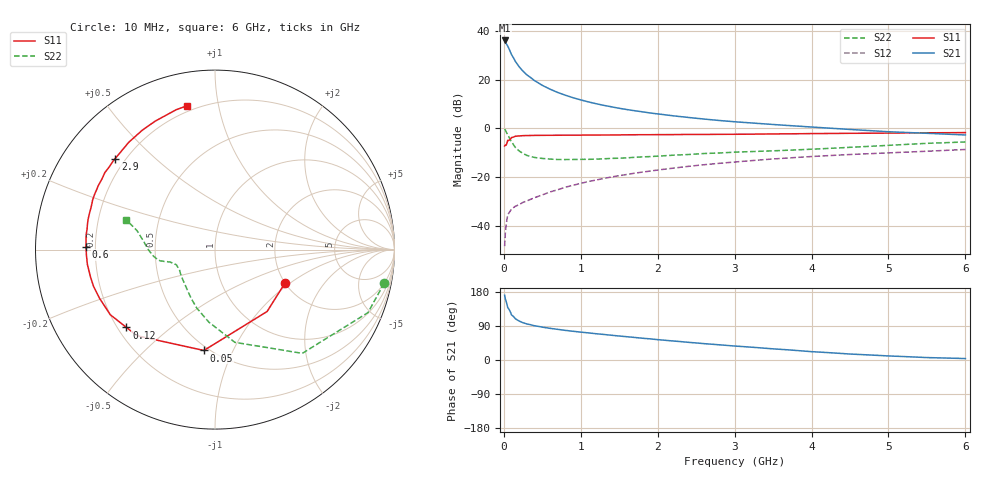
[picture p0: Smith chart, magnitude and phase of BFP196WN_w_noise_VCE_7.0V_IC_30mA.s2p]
! Infineon Technologies  Discrete & RF Semiconductors
! BFP196WN
! VCE =  7.0 V,  IC =  30 mA
! Common Emitter S-Parameters:  Jan 2017
# GHz  S  MA  R  50
!  f  S11  S21  S12  S22
! GHz  MAG  ANG  MAG  ANG  MAG  ANG  MAG  ANG
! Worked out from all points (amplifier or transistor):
!   77 points, 10 MHz to 6 GHz, reference 50 ohm
!   highest |S21| = 36.1 dB at 10 MHz (marker M1)
!   |S21| within 3 dB of that: start of sweep to 61.06 MHz
!   unconditionally stable (mu >= 1): 811.3 MHz to 2.649 GHz
!   at 130 MHz: K = 0.40, MSG = 30.6 dB, |S12| = -32.5 dB
!   at 2.2 GHz: K = 1.03, MAG = 9.8 dB, |S12| = -16.4 dB
!   at 6 GHz: K = 0.89, MSG = 3.0 dB, |S12| = -8.7 dB
!   lowest NFmin = 1.06 dB at 450 MHz
!   S11 on the Smith chart (normalised r, x): 10 MHz: 2.01, -0.91; 50 MHz: 0.47, -0.78; 120 MHz: 0.24, -0.36; 600 MHz: 0.16, +0.01; 2.9 GHz: 0.16, +0.38; 6 GHz: 0.17, +0.81
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0.01  0.4326 -25.1  63.65 170.9  0.0038 81.0  0.9613 -11.2
0.02  0.4508 -49.9  59.88 160.9  0.0073 79.4  0.9217 -22.4
0.05  0.5654 -96.3  49.09 138.9  0.0165 56.6  0.7556 -49.9
0.1  0.6472 -132.1  32.58 118.9  0.022 47.3  0.5286 -77.9
0.12  0.6569 -138.7  28.91 115.6  0.0232 45.7  0.4746 -83.6
0.15  0.6871 -148.1  23.66 108.8  0.0251 43.5  0.4054 -94.9
0.2  0.6981 -157.1  18.27 102.6  0.0271 44.4  0.3417 -107.2
0.25  0.7069 -163.1  14.85 98.3  0.0302 45.8  0.3039 -115.7
0.3  0.7102 -167.5  12.48 95.1  0.0323 48.8  0.2771 -123.0
0.4  0.7158 -173.4  9.483 90.3  0.0376 53.1  0.2519 -133.1
0.5  0.7171 -177.8  7.611 86.7  0.0429 56.3  0.2406 -140.4
0.6  0.7187 178.8  6.363 83.6  0.0493 58.5  0.2335 -145.7
0.7  0.7202 176.1  5.452 80.9  0.0547 61.0  0.2286 -149.5
0.8  0.7227 173.4  4.777 78.2  0.0617 62.9  0.2283 -152.0
1.1  0.7265 167.0  3.483 71.5  0.0809 64.2  0.2307 -157.9
1.5  0.7319 159.7  2.576 63.3  0.1065 64.3  0.2432 -162.3
2.1  0.7417 149.7  1.89 52.0  0.1453 62.2  0.2741 -165.8
2.9  0.7526 137.6  1.404 38.5  0.197 57.5  0.3175 -169.2
3.1  0.7555 134.6  1.328 35.5  0.2093 56.0  0.3279 -170.9
4.1  0.7805 119.9  1.038 20.9  0.2685 48.3  0.3785 178.2
5.1  0.7993 108.9  0.838 9.9  0.3178 40.9  0.4552 165.7
6  0.8164 101.0  0.729 3.8  0.3675 34.9  0.5238 161.7
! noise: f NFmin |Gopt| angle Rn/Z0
0.45  1.06  0.46  178  0.04
0.9  1.19  0.52  184  0.05
1.9  2.13  0.68  211  0.13
2.4  2.86  0.69  218  0.24
